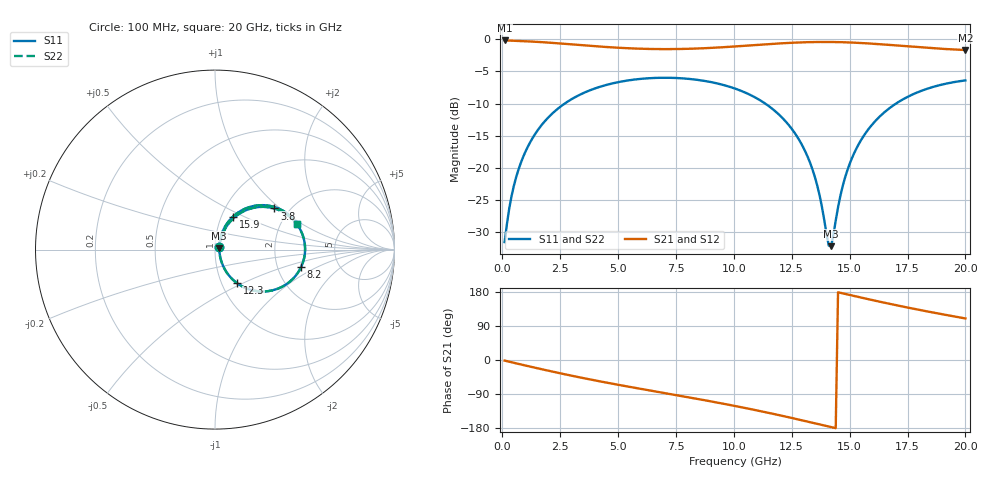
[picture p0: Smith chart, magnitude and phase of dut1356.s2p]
! Touchstone file exported from HFSS 2026.1.0
!  File:  C:/ffzhzh/LocalFiles/Ansys_Project_Files/temp_train_TSV_RDL_1356_1783341457_30076.aedt
!  Generated:  08:49:08 PM Jul  6, 2026
!  Design:  TSV_RDL
!  Project:  temp_train_TSV_RDL_1356_1783341457_30076
! Variables:
!  h_bsmrdl = 3.14um
!  h_ox = 20um
!  h_rdl = 5um
!  h_sub = 78.91um
!  h_tmrdl = 3.3um
!  h_tsv = 78.91um
!  h_via = 3um
!  l_bsmrdl = 152.68um
!  l_sub = 4154.6um
!  l_tmrdl = 799.6um
!  m_sub = 200um
!  pitch = 42.75um
!  r_tsv = 8.17um
!  s_tmrdl = 10um
!  w_bsmrdl = 12.03um
!  w_sub = 500um
!  w_tmrdl = 20.69um
!  x_tsv_center1 = 809.945um
!  x_tsv_center2 = 974.655um
!  x_tsv_center3 = 1794.945um
!  x_tsv_center4 = 1959.655um
!  x_tsv_center5 = 2779.945um
!  x_tsv_center6 = 2944.655um
# GHz S MA R 50.000000
! Terminal data exported
! Port[1] = TM_RDL1_1_T1
! Port[2] = TM_RDL5_1_T1
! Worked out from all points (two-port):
!   200 points, 100 MHz to 20 GHz, reference 50 ohm
!   highest |S21| = -0.20 dB at 100 MHz (marker M1); lowest = -1.7 dB at 20 GHz (marker M2)
!   |S21| within 3 dB of the highest: start of sweep to end of sweep
!   lowest |S11| = -32.1 dB at 14.2 GHz (marker M3), VSWR 1.05, Z = 52.4 + j0.655 ohm
!   |S11| at or under -10 dB: start of sweep to 2.692 GHz; 11.36 GHz to 17 GHz (5.643 GHz wide, 39.8 % of centre)
!   |S22| runs from -32.2 to -6.0 dB; largest |S21 - S12| = 2.1e-14
!   S11 on the Smith chart (normalised r, x): 100 MHz: 1.05, +0.03; 3.8 GHz: 1.67, +0.92; 8.2 GHz: 2.70, -0.70; 12.3 GHz: 1.18, -0.46; 15.9 GHz: 1.13, +0.44; 20 GHz: 2.44, +0.91
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0.1  0.02662 31.6  0.9776 -1.5  0.9776 -1.5  0.02662 31.6
! Gamma 0 0 0 0
! Port Impedance 50 0 50 0
0.3  0.0485 55.9  0.9752 -4.5  0.9752 -4.5  0.0485 55.9
0.5  0.07281 62.3  0.9721 -7.5  0.9721 -7.5  0.07281 62.3
1.2  0.158 62.8  0.9599 -17.4  0.9599 -17.4  0.158 62.8
2.2  0.269 53.0  0.9352 -31.1  0.9352 -31.1  0.269 53.0
3.5  0.3816 38.2  0.8964 -47.8  0.8964 -47.8  0.3816 38.1
3.8  0.4021 34.8  0.8878 -51.4  0.8878 -51.4  0.4021 34.8
6.8  0.5016 2.8  0.8376 -85.0  0.8376 -85.0  0.5016 2.8
8.2  0.489 -11.7  0.8439 -100.2  0.8439 -100.2  0.489 -11.7
10.1  0.4107 -32.1  0.8794 -121.9  0.8794 -121.9  0.4107 -32.2
12.3  0.2233 -56.7  0.934 -150.2  0.934 -150.2  0.2233 -56.9
12.9  0.156 -62.1  0.9444 -158.5  0.9444 -158.5  0.156 -62.3
13.4  0.09703 -63.5  0.9498 -165.6  0.9498 -165.6  0.097 -63.7
13.7  0.06174 -59.1  0.9513 -169.8  0.9513 -169.8  0.06166 -59.4
14.1  0.02498 -13.2  0.9514 -175.6  0.9514 -175.6  0.02471 -13.6
14.2  0.02474 14.6  0.951 -177.0  0.951 -177.0  0.02445 14.6
14.6  0.06073 62.2  0.9482 177.3  0.9482 177.3  0.06058 62.4
14.9  0.09572 66.8  0.9445 173.1  0.9445 173.1  0.0956 66.9
15.9  0.2096 61.3  0.9247 159.2  0.9247 159.2  0.2095 61.4
16.7  0.2895 52.9  0.9032 148.6  0.9032 148.6  0.2894 52.9
18.2  0.4036 36.3  0.8607 130.0  0.8607 130.0  0.4035 36.3
20  0.4784 17.5  0.8247 109.6  0.8247 109.6  0.4783 17.4
